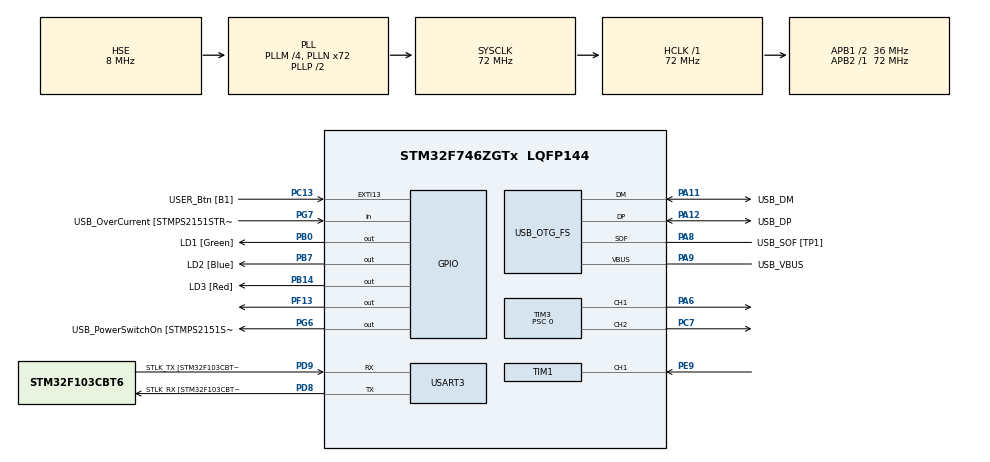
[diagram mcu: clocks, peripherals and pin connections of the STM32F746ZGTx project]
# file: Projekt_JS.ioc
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Mcu.Family=STM32F7
Mcu.Name=STM32F746ZGTx
Mcu.Package=LQFP144
NVIC.PriorityGroup=NVIC_PRIORITYGROUP_4
NVIC.TIM1_CC_IRQn=true\:0\:0\:false\:false\:true\:true\:true\:true
NVIC.TIM3_IRQn=true\:0\:0\:false\:false\:true\:true\:true\:true
NVIC.TIM4_IRQn=true\:0\:0\:false\:false\:true\:true\:true\:true
NVIC.USART3_IRQn=true\:0\:0\:false\:false\:true\:true\:true\:true
PA1.GPIO_Label=RMII_REF_CLK [LAN8742A-CZ-TR_REFCLK0]
PA1.Signal=ETH_REF_CLK
PA10.GPIO_Label=USB_ID
PA10.Signal=USB_OTG_FS_ID
PA11.GPIO_Label=USB_DM
PA11.Mode=Device_Only
PA11.Signal=USB_OTG_FS_DM
PA12.GPIO_Label=USB_DP
PA12.Mode=Device_Only
PA12.Signal=USB_OTG_FS_DP
PA13.GPIO_Label=TMS
PA13.Mode=Serial_Wire
PA13.Signal=SYS_JTMS-SWDIO
PA14.GPIO_Label=TCK
PA14.Mode=Serial_Wire
PA14.Signal=SYS_JTCK-SWCLK
PA2.GPIO_Label=RMII_MDIO [LAN8742A-CZ-TR_MDIO]
PA2.Signal=ETH_MDIO
PA6.Signal=S_TIM3_CH1
PA7.GPIO_Label=RMII_CRS_DV [LAN8742A-CZ-TR_CRS_DV]
PA7.Signal=ETH_CRS_DV
PA8.GPIO_Label=USB_SOF [TP1]
PA8.Mode=Activate_SOF_FS
PA8.Signal=USB_OTG_FS_SOF
PA9.GPIO_Label=USB_VBUS
PA9.Mode=Activate_VBUS
PA9.Signal=USB_OTG_FS_VBUS
PB0.GPIO_Label=LD1 [Green]
PB0.Signal=GPIO_Output
PB13.GPIO_Label=RMII_TXD1 [LAN8742A-CZ-TR_TXD1]
PB13.Signal=ETH_TXD1
PB14.GPIO_Label=LD3 [Red]
PB14.Signal=GPIO_Output
PB3.GPIO_Label=SW0
PB3.Signal=SYS_JTDO-SWO
PB7.GPIO_Label=LD2 [Blue]
PB7.Signal=GPIO_Output
PC1.GPIO_Label=RMII_MDC [LAN8742A-CZ-TR_MDC]
PC1.Signal=ETH_MDC
PC13.GPIO_Label=USER_Btn [B1]
PC13.Signal=GPXTI13
PC14/OSC32_IN.Mode=LSE-External-Oscillator
PC14/OSC32_IN.Signal=RCC_OSC32_IN
PC15/OSC32_OUT.Mode=LSE-External-Oscillator
PC15/OSC32_OUT.Signal=RCC_OSC32_OUT
PC4.GPIO_Label=RMII_RXD0 [LAN8742A-CZ-TR_RXD0]
PC4.Signal=ETH_RXD0
PC5.GPIO_Label=RMII_RXD1 [LAN8742A-CZ-TR_RXD1]
PC5.Signal=ETH_RXD1
PC7.Signal=S_TIM3_CH2
PD8.GPIO_Label=STLK_RX [STM32F103CBT6_PA3]
PD8.GPIO_PuPd=GPIO_PULLUP
PD8.Mode=Asynchronous
PD8.Signal=USART3_TX
PD9.GPIO_Label=STLK_TX [STM32F103CBT6_PA2]
PD9.GPIO_PuPd=GPIO_PULLUP
PD9.Mode=Asynchronous
PD9.Signal=USART3_RX
PE9.Signal=S_TIM1_CH1
PF13.Signal=GPIO_Output
PG11.GPIO_Label=RMII_TX_EN [LAN8742A-CZ-TR_TXEN]
PG11.Signal=ETH_TX_EN
PG13.GPIO_Label=RMII_TXD0 [LAN8742A-CZ-TR_TXD0]
PG13.Signal=ETH_TXD0
PG6.GPIO_Label=USB_PowerSwitchOn [STMPS2151STR_EN]
PG6.Signal=GPIO_Output
PG7.GPIO_Label=USB_OverCurrent [STMPS2151STR_FAULT]
PG7.Signal=GPIO_Input
PH0/OSC_IN.GPIO_Label=MCO [STM32F103CBT6_PA8]
PH0/OSC_IN.Mode=HSE-External-Clock-Source
PH0/OSC_IN.Signal=RCC_OSC_IN
PH1/OSC_OUT.Mode=HSE-External-Clock-Source
PH1/OSC_OUT.Signal=RCC_OSC_OUT
ProjectManager.HeapSize=0x200
ProjectManager.StackSize=0x400
ProjectManager.TargetToolchain=STM32CubeIDE
RCC.48MHZClocksFreq_Value=24000000
RCC.AHBFreq_Value=72000000
RCC.APB1CLKDivider=RCC_HCLK_DIV2
RCC.APB1Freq_Value=36000000
RCC.APB1TimFreq_Value=72000000
RCC.APB2Freq_Value=72000000
RCC.APB2TimFreq_Value=72000000
RCC.CortexFreq_Value=72000000
RCC.HCLKFreq_Value=72000000
RCC.HSE_VALUE=8000000
RCC.HSI_VALUE=16000000
RCC.PLLM=4
RCC.PLLMUL=RCC_PLL_MUL9
RCC.PLLN=72
RCC.PLLQ=3
RCC.PRESCALERUSB=RCC_USBCLKSOURCE_PLL_DIV1_5
RCC.SYSCLKFreq_VALUE=72000000
RCC.SYSCLKSource=RCC_SYSCLKSOURCE_PLLCLK
RCC.SYSCLKSourceVirtual=RCC_SYSCLKSOURCE_PLLCLK
RCC.USBFreq_Value=48000000
RCC.VCOOutputFreq_Value=144000000
SH.S_TIM1_CH1.0=TIM1_CH1,Input_Capture1_from_TI1
SH.S_TIM3_CH1.0=TIM3_CH1,PWM Generation1 CH1
SH.S_TIM3_CH2.0=TIM3_CH2,PWM Generation2 CH2
TIM1.Channel-Input_Capture1_from_TI1=TIM_CHANNEL_1
TIM1.Period=0xffff-1
TIM1.Prescaler=71
TIM3.Channel-PWM\ Generation1\ CH1=TIM_CHANNEL_1
TIM3.Channel-PWM\ Generation2\ CH2=TIM_CHANNEL_2
TIM3.Period=2000
TIM3.Prescaler=0
TIM3.Pulse-PWM\ Generation2\ CH2=1
TIM4.Prescaler=31
USART3.VirtualMode-Asynchronous=VM_ASYNC
USB_OTG_FS.VirtualMode=Device_Only
VP_TIM3_VS_ClockSourceINT.Mode=Internal
VP_TIM4_VS_ClockSourceINT.Mode=Internal
board=NUCLEO-F746ZG

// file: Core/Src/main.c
/* USER CODE BEGIN Header */
/**
  ******************************************************************************
  * @file           : main.c
  * @brief          : Main program body
  ******************************************************************************
  * @attention
  *
  * Copyright (c) 2024 STMicroelectronics.
  * All rights reserved.
  *
  * This software is licensed under terms that can be found in the LICENSE file
  * in the root directory of this software component.
  * If no LICENSE file comes with this software, it is provided AS-IS.
  *
  ******************************************************************************
  */
/* USER CODE END Header */
#include "main.h"

/* USER CODE BEGIN Includes */
#include <stdio.h>
#include <stdlib.h>

/* USER CODE END Includes */

TIM_HandleTypeDef htim1;
TIM_HandleTypeDef htim3;
TIM_HandleTypeDef htim4;

UART_HandleTypeDef huart3;

PCD_HandleTypeDef hpcd_USB_OTG_FS;

void SystemClock_Config(void);
static void MX_GPIO_Init(void);
static void MX_USART3_UART_Init(void);
static void MX_USB_OTG_FS_PCD_Init(void);
static void MX_TIM1_Init(void);
static void MX_TIM3_Init(void);
static void MX_TIM4_Init(void);

/* USER CODE BEGIN 0 */

/////////////////////////////////// Zmienne globalne ///

uint32_t IC_Val1 = 0; // IC_Val1,2 przechowuja czas imopulsy z pinu ECHO sensora odleglosci
uint32_t IC_Val2 = 0; //
uint32_t Difference = 0; // |IC_Val1 - IC_Val2|
uint8_t Is_First_Captured = 0; // Zmienna logiczna potrzebna do obsługi systemu pomiaru
uint8_t Distance  = 0; // Difference * 0.034/2; Aktualna pozycja wagonika
uint8_t Target_value = 5; // Wartośc zadana z portu szeregowego

int p1 = 300; // Początkowa wartość wypełnienia wirnika p1 i p2. Wartość wypełnienia to  wartośc p1,2 / 2000
int p2 = 300;

uint8_t tx_buffer[32]; // Bufor do obsługi odbioru informacji z portu szeregowego.

#define TRIG_PIN GPIO_PIN_13 // Pin i port obsługujący pin TRIGGER sensora
#define TRIG_PORT GPIOF

void HAL_TIM_IC_CaptureCallback(TIM_HandleTypeDef *htim)
{
	// Obługa systemu pomiaru. Flaga Is_First_Captured jest ustawiana na 1 i zapisywany jest pierwszy czas impulsu.
	// Następny pomiar ustawia flagę na 0 i zapisuję drugi pomiar.
	// Wynikiem pożądanym (odległośc od wagonika) oblicza się jako różnica zczytanych pomiarów razy 0.034/2
	if (htim->Channel == HAL_TIM_ACTIVE_CHANNEL_1)
	{
		if (Is_First_Captured==0)
		{
			IC_Val1 = HAL_TIM_ReadCapturedValue(htim, TIM_CHANNEL_1);
			Is_First_Captured = 1;

			__HAL_TIM_SET_CAPTUREPOLARITY(htim, TIM_CHANNEL_1, TIM_INPUTCHANNELPOLARITY_FALLING);
		}

		else if (Is_First_Captured==1)
		{
			IC_Val2 = HAL_TIM_ReadCapturedValue(htim, TIM_CHANNEL_1);
			__HAL_TIM_SET_COUNTER(htim, 0);

			if (IC_Val2 > IC_Val1)
			{
				Difference = IC_Val2-IC_Val1;
			}

			else if (IC_Val1 > IC_Val2)
			{
				Difference = (0xffff - IC_Val1) + IC_Val2;
			}

			Distance = Difference * 0.034/2;
			Is_First_Captured = 0;

			__HAL_TIM_SET_CAPTUREPOLARITY(htim, TIM_CHANNEL_1, TIM_INPUTCHANNELPOLARITY_RISING);
			__HAL_TIM_DISABLE_IT(&htim1, TIM_IT_CC1);
		}
	}
}

void delay(uint8_t time){
	__HAL_TIM_SET_COUNTER(&htim1,0);
	while (__HAL_TIM_GET_COUNTER(&htim1) < time);
}

void HCSR04_Read (void)
{
	// Impuls pinu TRIGGER; uruchamia system pomiaru
	HAL_GPIO_WritePin(TRIG_PORT, TRIG_PIN, GPIO_PIN_SET);
	delay(10);
	HAL_GPIO_WritePin(TRIG_PORT, TRIG_PIN, GPIO_PIN_RESET);

	__HAL_TIM_ENABLE_IT(&htim1, TIM_IT_CC1);
}

int __io_putchar(int ch)
{
	if (ch == '\n') {
		__io_putchar('\r');
	}

	HAL_UART_Transmit(&huart3, (uint8_t*)&ch, 1, HAL_MAX_DELAY);

	return 1;
}

void HAL_UART_RxCpltCallback(UART_HandleTypeDef *huart)
{
	// Komunikacjka z portem szeregowym, odbiór wartości zadanej.
	if(huart == &huart3)
	{
		p1 = 300; // Restart silników;
		p2 = 300;

		int Target = strtol((char*)&tx_buffer, 0, 10);
			Target_value = Target;

		HAL_UART_Receive_IT(&huart3, tx_buffer, 2);
	}
}

void HAL_TIM_PeriodElapsedCallback (TIM_HandleTypeDef *htim)
{
	//Stała częstotliwość próbkowania: 113Hz ; wywołanie systemu pomiaru
  if (htim->Instance == htim4.Instance)
  {
	  HCSR04_Read(); // Wywołanie pomiaru

	  ////////////ograniczenie prędkości ze względu na zacinanie się śmigieł/////////////////
	  if(p1>1900){
		  p1= 1900;
	  }

	  if(p2>1900){
		  p2= 1900;
	  }

	  if(p1<300){
		  p1 = 300;
	  }

	  if(p2<300){
		  p2 = 300;
	  }
	  ////////////////////////////////

	  // Główny algorymt sterowania, położenie wagonika zwiększa/zmniejsza wypełnienie PWM kontrolujące śmigła.
	  if(Distance < Target_value){
		  p1 = p1-1;
		  p2 = p2+1;

		  __HAL_TIM_SET_COMPARE(&htim3,TIM_CHANNEL_1,p1);
		  __HAL_TIM_SET_COMPARE(&htim3,TIM_CHANNEL_2,p2);
		  HAL_GPIO_WritePin(LD2_GPIO_Port, LD2_Pin, 0);
		  HAL_GPIO_WritePin(LD3_GPIO_Port, LD3_Pin, 0);
	  }else if(Distance > Target_value){
		  p1 = p1+1;
		  p2 = p2-1;

		  __HAL_TIM_SET_COMPARE(&htim3,TIM_CHANNEL_1,p1);
		  __HAL_TIM_SET_COMPARE(&htim3,TIM_CHANNEL_2,p2);
		  HAL_GPIO_WritePin(LD2_GPIO_Port, LD2_Pin, 1);
		  HAL_GPIO_WritePin(LD3_GPIO_Port, LD3_Pin, 0);
	  }else{
		  __HAL_TIM_SET_COMPARE(&htim3,TIM_CHANNEL_1,250);
		  __HAL_TIM_SET_COMPARE(&htim3,TIM_CHANNEL_2,250);
		  HAL_GPIO_WritePin(LD3_GPIO_Port, LD3_Pin, 1);
		  HAL_GPIO_WritePin(LD2_GPIO_Port, LD2_Pin, 0);
	  }
  }
}
/* USER CODE END 0 */

int main(void)
{

  /* MCU Configuration--------------------------------------------------------*/

  /* Reset of all peripherals, Initializes the Flash interface and the Systick. */
  HAL_Init();

  /* Configure the system clock */
  SystemClock_Config();

  /* Initialize all configured peripherals */
  MX_GPIO_Init();
  MX_USART3_UART_Init();
  MX_USB_OTG_FS_PCD_Init();
  MX_TIM1_Init();
  MX_TIM3_Init();
  MX_TIM4_Init();
  /* USER CODE BEGIN 2 */
  HAL_TIM_IC_Start_IT(&htim1, TIM_CHANNEL_1);
  HAL_UART_Receive_IT(&huart3, tx_buffer, 2);

  HAL_TIM_PWM_Start(&htim3,TIM_CHANNEL_1);
  HAL_TIM_PWM_Start(&htim3,TIM_CHANNEL_2);

  HAL_TIM_Base_Start_IT(&htim4);

  /* USER CODE END 2 */

  /* Infinite loop */
  /* USER CODE BEGIN WHILE */
  while (1)
  {
	  // Nadanie komunikacji z systemem.
	  HAL_Delay(2000);
	  printf("------------------------\n");
	  printf("Current distance = %u\n", Distance);
	  printf("Target value: = %u\n", Target_value);
	  printf("p1 = %u\n", p1);
	  printf("p2 = %u\n", p2);
	  printf("------------------------\n");

    /* USER CODE END WHILE */

  }
}

void SystemClock_Config(void)
{
  RCC_OscInitTypeDef RCC_OscInitStruct = {0};
  RCC_ClkInitTypeDef RCC_ClkInitStruct = {0};

  /** Configure LSE Drive Capability
  */
  HAL_PWR_EnableBkUpAccess();

  /** Configure the main internal regulator output voltage
  */
  __HAL_RCC_PWR_CLK_ENABLE();
  __HAL_PWR_VOLTAGESCALING_CONFIG(PWR_REGULATOR_VOLTAGE_SCALE3);

  /** Initializes the RCC Oscillators according to the specified parameters
  * in the RCC_OscInitTypeDef structure.
  */
  RCC_OscInitStruct.OscillatorType = RCC_OSCILLATORTYPE_HSE;
  RCC_OscInitStruct.HSEState = RCC_HSE_BYPASS;
  RCC_OscInitStruct.PLL.PLLState = RCC_PLL_ON;
  RCC_OscInitStruct.PLL.PLLSource = RCC_PLLSOURCE_HSE;
  RCC_OscInitStruct.PLL.PLLM = 4;
  RCC_OscInitStruct.PLL.PLLN = 72;
  RCC_OscInitStruct.PLL.PLLP = RCC_PLLP_DIV2;
  RCC_OscInitStruct.PLL.PLLQ = 3;
  if (HAL_RCC_OscConfig(&RCC_OscInitStruct) != HAL_OK)
  {
    Error_Handler();
  }

  /** Initializes the CPU, AHB and APB buses clocks
  */
  RCC_ClkInitStruct.ClockType = RCC_CLOCKTYPE_HCLK|RCC_CLOCKTYPE_SYSCLK
                              |RCC_CLOCKTYPE_PCLK1|RCC_CLOCKTYPE_PCLK2;
  RCC_ClkInitStruct.SYSCLKSource = RCC_SYSCLKSOURCE_PLLCLK;
  RCC_ClkInitStruct.AHBCLKDivider = RCC_SYSCLK_DIV1;
  RCC_ClkInitStruct.APB1CLKDivider = RCC_HCLK_DIV2;
  RCC_ClkInitStruct.APB2CLKDivider = RCC_HCLK_DIV1;

  if (HAL_RCC_ClockConfig(&RCC_ClkInitStruct, FLASH_LATENCY_2) != HAL_OK)
  {
    Error_Handler();
  }
}

static void MX_TIM1_Init(void)
{

  TIM_MasterConfigTypeDef sMasterConfig = {0};
  TIM_IC_InitTypeDef sConfigIC = {0};

  htim1.Instance = TIM1;
  htim1.Init.Prescaler = 71;
  htim1.Init.CounterMode = TIM_COUNTERMODE_UP;
  htim1.Init.Period = 0xffff-1;
  htim1.Init.ClockDivision = TIM_CLOCKDIVISION_DIV1;
  htim1.Init.RepetitionCounter = 0;
  htim1.Init.AutoReloadPreload = TIM_AUTORELOAD_PRELOAD_DISABLE;
  if (HAL_TIM_IC_Init(&htim1) != HAL_OK)
  {
    Error_Handler();
  }
  sMasterConfig.MasterOutputTrigger = TIM_TRGO_RESET;
  sMasterConfig.MasterOutputTrigger2 = TIM_TRGO2_RESET;
  sMasterConfig.MasterSlaveMode = TIM_MASTERSLAVEMODE_DISABLE;
  if (HAL_TIMEx_MasterConfigSynchronization(&htim1, &sMasterConfig) != HAL_OK)
  {
    Error_Handler();
  }
  sConfigIC.ICPolarity = TIM_INPUTCHANNELPOLARITY_RISING;
  sConfigIC.ICSelection = TIM_ICSELECTION_DIRECTTI;
  sConfigIC.ICPrescaler = TIM_ICPSC_DIV1;
  sConfigIC.ICFilter = 0;
  if (HAL_TIM_IC_ConfigChannel(&htim1, &sConfigIC, TIM_CHANNEL_1) != HAL_OK)
  {
    Error_Handler();
  }

}

static void MX_TIM3_Init(void)
{

  TIM_ClockConfigTypeDef sClockSourceConfig = {0};
  TIM_MasterConfigTypeDef sMasterConfig = {0};
  TIM_OC_InitTypeDef sConfigOC = {0};

  htim3.Instance = TIM3;
  htim3.Init.Prescaler = 0;
  htim3.Init.CounterMode = TIM_COUNTERMODE_UP;
  htim3.Init.Period = 2000;
  htim3.Init.ClockDivision = TIM_CLOCKDIVISION_DIV1;
  htim3.Init.AutoReloadPreload = TIM_AUTORELOAD_PRELOAD_DISABLE;
  if (HAL_TIM_Base_Init(&htim3) != HAL_OK)
  {
    Error_Handler();
  }
  sClockSourceConfig.ClockSource = TIM_CLOCKSOURCE_INTERNAL;
  if (HAL_TIM_ConfigClockSource(&htim3, &sClockSourceConfig) != HAL_OK)
  {
    Error_Handler();
  }
  if (HAL_TIM_PWM_Init(&htim3) != HAL_OK)
  {
    Error_Handler();
  }
  sMasterConfig.MasterOutputTrigger = TIM_TRGO_RESET;
  sMasterConfig.MasterSlaveMode = TIM_MASTERSLAVEMODE_DISABLE;
  if (HAL_TIMEx_MasterConfigSynchronization(&htim3, &sMasterConfig) != HAL_OK)
  {
    Error_Handler();
  }
  sConfigOC.OCMode = TIM_OCMODE_PWM1;
  sConfigOC.Pulse = 0;
  sConfigOC.OCPolarity = TIM_OCPOLARITY_HIGH;
  sConfigOC.OCFastMode = TIM_OCFAST_DISABLE;
  if (HAL_TIM_PWM_ConfigChannel(&htim3, &sConfigOC, TIM_CHANNEL_1) != HAL_OK)
  {
    Error_Handler();
  }
  sConfigOC.Pulse = 1;
  if (HAL_TIM_PWM_ConfigChannel(&htim3, &sConfigOC, TIM_CHANNEL_2) != HAL_OK)
  {
    Error_Handler();
  }
  HAL_TIM_MspPostInit(&htim3);

}

static void MX_TIM4_Init(void)
{

  TIM_ClockConfigTypeDef sClockSourceConfig = {0};
  TIM_MasterConfigTypeDef sMasterConfig = {0};

  htim4.Instance = TIM4;
  htim4.Init.Prescaler = 31;
  htim4.Init.CounterMode = TIM_COUNTERMODE_UP;
  htim4.Init.Period = 65535;
  htim4.Init.ClockDivision = TIM_CLOCKDIVISION_DIV1;
  htim4.Init.AutoReloadPreload = TIM_AUTORELOAD_PRELOAD_DISABLE;
  if (HAL_TIM_Base_Init(&htim4) != HAL_OK)
  {
    Error_Handler();
  }
  sClockSourceConfig.ClockSource = TIM_CLOCKSOURCE_INTERNAL;
  if (HAL_TIM_ConfigClockSource(&htim4, &sClockSourceConfig) != HAL_OK)
  {
    Error_Handler();
  }
  sMasterConfig.MasterOutputTrigger = TIM_TRGO_RESET;
  sMasterConfig.MasterSlaveMode = TIM_MASTERSLAVEMODE_DISABLE;
  if (HAL_TIMEx_MasterConfigSynchronization(&htim4, &sMasterConfig) != HAL_OK)
  {
    Error_Handler();
  }

}

static void MX_USART3_UART_Init(void)
{

  huart3.Instance = USART3;
  huart3.Init.BaudRate = 115200;
  huart3.Init.WordLength = UART_WORDLENGTH_8B;
  huart3.Init.StopBits = UART_STOPBITS_1;
  huart3.Init.Parity = UART_PARITY_NONE;
  huart3.Init.Mode = UART_MODE_TX_RX;
  huart3.Init.HwFlowCtl = UART_HWCONTROL_NONE;
  huart3.Init.OverSampling = UART_OVERSAMPLING_16;
  huart3.Init.OneBitSampling = UART_ONE_BIT_SAMPLE_DISABLE;
  huart3.AdvancedInit.AdvFeatureInit = UART_ADVFEATURE_NO_INIT;
  if (HAL_UART_Init(&huart3) != HAL_OK)
  {
    Error_Handler();
  }

}

static void MX_USB_OTG_FS_PCD_Init(void)
{

  hpcd_USB_OTG_FS.Instance = USB_OTG_FS;
  hpcd_USB_OTG_FS.Init.dev_endpoints = 6;
  hpcd_USB_OTG_FS.Init.speed = PCD_SPEED_FULL;
  hpcd_USB_OTG_FS.Init.dma_enable = DISABLE;
  hpcd_USB_OTG_FS.Init.phy_itface = PCD_PHY_EMBEDDED;
  hpcd_USB_OTG_FS.Init.Sof_enable = ENABLE;
  hpcd_USB_OTG_FS.Init.low_power_enable = DISABLE;
  hpcd_USB_OTG_FS.Init.lpm_enable = DISABLE;
  hpcd_USB_OTG_FS.Init.vbus_sensing_enable = ENABLE;
  hpcd_USB_OTG_FS.Init.use_dedicated_ep1 = DISABLE;
  if (HAL_PCD_Init(&hpcd_USB_OTG_FS) != HAL_OK)
  {
    Error_Handler();
  }

}

static void MX_GPIO_Init(void)
{
  GPIO_InitTypeDef GPIO_InitStruct = {0};

  /* GPIO Ports Clock Enable */
  __HAL_RCC_GPIOC_CLK_ENABLE();
  __HAL_RCC_GPIOH_CLK_ENABLE();
  __HAL_RCC_GPIOA_CLK_ENABLE();
  __HAL_RCC_GPIOB_CLK_ENABLE();
  __HAL_RCC_GPIOF_CLK_ENABLE();
  __HAL_RCC_GPIOE_CLK_ENABLE();
  __HAL_RCC_GPIOD_CLK_ENABLE();
  __HAL_RCC_GPIOG_CLK_ENABLE();

  /*Configure GPIO pin Output Level */
  HAL_GPIO_WritePin(GPIOB, LD1_Pin|LD3_Pin|LD2_Pin, GPIO_PIN_RESET);

  /*Configure GPIO pin Output Level */
  HAL_GPIO_WritePin(GPIOF, GPIO_PIN_13, GPIO_PIN_RESET);

  /*Configure GPIO pin Output Level */
  HAL_GPIO_WritePin(USB_PowerSwitchOn_GPIO_Port, USB_PowerSwitchOn_Pin, GPIO_PIN_RESET);

  /*Configure GPIO pin : USER_Btn_Pin */
  GPIO_InitStruct.Pin = USER_Btn_Pin;
  GPIO_InitStruct.Mode = GPIO_MODE_IT_RISING;
  GPIO_InitStruct.Pull = GPIO_NOPULL;
  HAL_GPIO_Init(USER_Btn_GPIO_Port, &GPIO_InitStruct);

  /*Configure GPIO pins : RMII_MDC_Pin RMII_RXD0_Pin RMII_RXD1_Pin */
  GPIO_InitStruct.Pin = RMII_MDC_Pin|RMII_RXD0_Pin|RMII_RXD1_Pin;
  GPIO_InitStruct.Mode = GPIO_MODE_AF_PP;
  GPIO_InitStruct.Pull = GPIO_NOPULL;
  GPIO_InitStruct.Speed = GPIO_SPEED_FREQ_VERY_HIGH;
  GPIO_InitStruct.Alternate = GPIO_AF11_ETH;
  HAL_GPIO_Init(GPIOC, &GPIO_InitStruct);

  /*Configure GPIO pins : RMII_REF_CLK_Pin RMII_MDIO_Pin RMII_CRS_DV_Pin */
  GPIO_InitStruct.Pin = RMII_REF_CLK_Pin|RMII_MDIO_Pin|RMII_CRS_DV_Pin;
  GPIO_InitStruct.Mode = GPIO_MODE_AF_PP;
  GPIO_InitStruct.Pull = GPIO_NOPULL;
  GPIO_InitStruct.Speed = GPIO_SPEED_FREQ_VERY_HIGH;
  GPIO_InitStruct.Alternate = GPIO_AF11_ETH;
  HAL_GPIO_Init(GPIOA, &GPIO_InitStruct);

  /*Configure GPIO pins : LD1_Pin LD3_Pin LD2_Pin */
  GPIO_InitStruct.Pin = LD1_Pin|LD3_Pin|LD2_Pin;
  GPIO_InitStruct.Mode = GPIO_MODE_OUTPUT_PP;
  GPIO_InitStruct.Pull = GPIO_NOPULL;
  GPIO_InitStruct.Speed = GPIO_SPEED_FREQ_LOW;
  HAL_GPIO_Init(GPIOB, &GPIO_InitStruct);

  /*Configure GPIO pin : PF13 */
  GPIO_InitStruct.Pin = GPIO_PIN_13;
  GPIO_InitStruct.Mode = GPIO_MODE_OUTPUT_PP;
  GPIO_InitStruct.Pull = GPIO_NOPULL;
  GPIO_InitStruct.Speed = GPIO_SPEED_FREQ_LOW;
  HAL_GPIO_Init(GPIOF, &GPIO_InitStruct);

  /*Configure GPIO pin : RMII_TXD1_Pin */
  GPIO_InitStruct.Pin = RMII_TXD1_Pin;
  GPIO_InitStruct.Mode = GPIO_MODE_AF_PP;
  GPIO_InitStruct.Pull = GPIO_NOPULL;
  GPIO_InitStruct.Speed = GPIO_SPEED_FREQ_VERY_HIGH;
  GPIO_InitStruct.Alternate = GPIO_AF11_ETH;
  HAL_GPIO_Init(RMII_TXD1_GPIO_Port, &GPIO_InitStruct);

  /*Configure GPIO pin : USB_PowerSwitchOn_Pin */
  GPIO_InitStruct.Pin = USB_PowerSwitchOn_Pin;
  GPIO_InitStruct.Mode = GPIO_MODE_OUTPUT_PP;
  GPIO_InitStruct.Pull = GPIO_NOPULL;
  GPIO_InitStruct.Speed = GPIO_SPEED_FREQ_LOW;
  HAL_GPIO_Init(USB_PowerSwitchOn_GPIO_Port, &GPIO_InitStruct);

  /*Configure GPIO pin : USB_OverCurrent_Pin */
  GPIO_InitStruct.Pin = USB_OverCurrent_Pin;
  GPIO_InitStruct.Mode = GPIO_MODE_INPUT;
  GPIO_InitStruct.Pull = GPIO_NOPULL;
  HAL_GPIO_Init(USB_OverCurrent_GPIO_Port, &GPIO_InitStruct);

  /*Configure GPIO pins : RMII_TX_EN_Pin RMII_TXD0_Pin */
  GPIO_InitStruct.Pin = RMII_TX_EN_Pin|RMII_TXD0_Pin;
  GPIO_InitStruct.Mode = GPIO_MODE_AF_PP;
  GPIO_InitStruct.Pull = GPIO_NOPULL;
  GPIO_InitStruct.Speed = GPIO_SPEED_FREQ_VERY_HIGH;
  GPIO_InitStruct.Alternate = GPIO_AF11_ETH;
  HAL_GPIO_Init(GPIOG, &GPIO_InitStruct);

}

void Error_Handler(void)
{
  __disable_irq();
  while (1)
  {
  }
}
